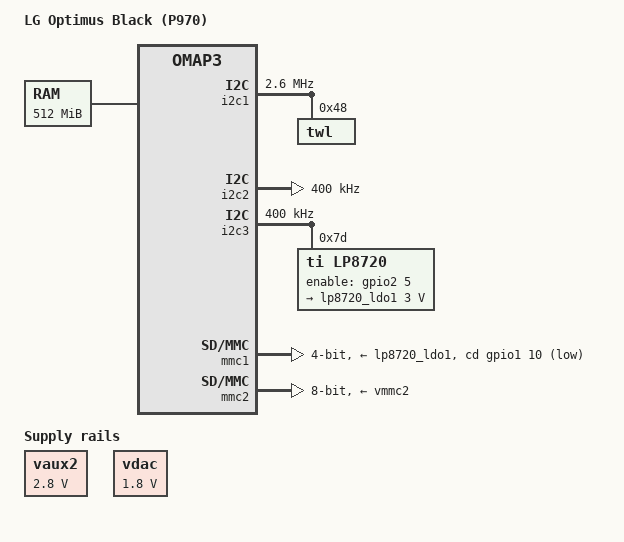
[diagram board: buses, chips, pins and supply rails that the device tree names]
/*
 * Copyright (C) 2015 Paul Kocialkowski <contact@paulk.fr>
 *
 * This program is free software; you can redistribute it and/or modify
 * it under the terms of the GNU General Public License version 2 as
 * published by the Free Software Foundation.
 */
/dts-v1/;

#include "omap36xx.dtsi"

/ {
	model = "LG Optimus Black (P970)";
	compatible = "lge,omap3-sniper", "ti,omap36xx", "ti,omap3";

	cpus {
		cpu@0 {
			cpu0-supply = <&vcc>;
		};
	};

	memory {
		device_type = "memory";
		reg = <0x80000000 0x20000000>; /* 512 MB */
	};
};

&omap3_pmx_core {
	pinctrl-names = "default";

	uart3_pins: pinmux_uart3_pins {
		pinctrl-single,pins = <
			0x16e (PIN_INPUT | MUX_MODE0)		/* uart3_rx_irrx */
			0x170 (PIN_OUTPUT | MUX_MODE0)		/* uart3_tx_irtx */
		>;
	};

	i2c1_pins: pinmux_i2c1_pins {
		pinctrl-single,pins = <
			0x18a (PIN_INPUT_PULLUP | MUX_MODE0)	/* i2c1_scl */
			0x18c (PIN_INPUT_PULLUP | MUX_MODE0)	/* i2c1_sda */
		>;
	};

	i2c2_pins: pinmux_i2c2_pins {
		pinctrl-single,pins = <
			0x18e (PIN_INPUT | MUX_MODE0)		/* i2c2_scl */
			0x190 (PIN_INPUT | MUX_MODE0)		/* i2c2_sda */
		>;
	};

	i2c3_pins: pinmux_i2c3_pins {
		pinctrl-single,pins = <
			0x192 (PIN_INPUT | MUX_MODE0)		/* i2c3_scl */
			0x194 (PIN_INPUT | MUX_MODE0)		/* i2c3_sda */
		>;
	};

	lp8720_en_pin: pinmux_lp8720_en_pin {
		pinctrl-single,pins = <
			0x80 (PIN_OUTPUT | MUX_MODE4)		/* gpio_37 */
		>;
	};

	mmc1_pins: pinmux_mmc1_pins {
		pinctrl-single,pins = <
			0x114 (PIN_INPUT | MUX_MODE0)		/* sdmmc1_clk */
			0x116 (PIN_INPUT | MUX_MODE0)		/* sdmmc1_cmd */
			0x118 (PIN_INPUT | MUX_MODE0)		/* sdmmc1_dat0 */
			0x11a (PIN_INPUT | MUX_MODE0)		/* sdmmc1_dat1 */
			0x11c (PIN_INPUT | MUX_MODE0)		/* sdmmc1_dat2 */
			0x11e (PIN_INPUT | MUX_MODE0)		/* sdmmc1_dat3 */
		>;
	};

	mmc2_pins: pinmux_mmc2_pins {
		pinctrl-single,pins = <
			0x128 (PIN_INPUT | MUX_MODE0)		/* sdmmc2_clk */
			0x12a (PIN_INPUT | MUX_MODE0)		/* sdmmc2_cmd */
			0x12c (PIN_INPUT | MUX_MODE0)		/* sdmmc2_dat0 */
			0x12e (PIN_INPUT | MUX_MODE0)		/* sdmmc2_dat1 */
			0x130 (PIN_INPUT | MUX_MODE0)		/* sdmmc2_dat2 */
			0x132 (PIN_INPUT | MUX_MODE0)		/* sdmmc2_dat3 */
			0x134 (PIN_INPUT | MUX_MODE0)		/* sdmmc2_dat4 */
			0x136 (PIN_INPUT | MUX_MODE0)		/* sdmmc2_dat5 */
			0x138 (PIN_INPUT | MUX_MODE0)		/* sdmmc2_dat6 */
			0x13a (PIN_INPUT | MUX_MODE0)		/* sdmmc2_dat7 */
		>;
	};
};

&omap3_pmx_wkup {
	pinctrl-names = "default";

	mmc1_cd_pin: pinmux_mmc1_cd_pin {
		pinctrl-single,pins = <
			0x1a (PIN_INPUT | MUX_MODE4)		/* gpio_10 */
		>;
	};
};

&gpio1 {
	ti,no-reset-on-init;
};

&gpio2 {
	ti,no-reset-on-init;
};

&gpio3 {
	ti,no-reset-on-init;
};

&gpio4 {
	ti,no-reset-on-init;
};

&gpio5 {
	ti,no-reset-on-init;
};

&gpio6 {
	ti,no-reset-on-init;
};

&uart3 {
	pinctrl-names = "default";
	pinctrl-0 = <&uart3_pins>;

	interrupts-extended = <&intc 74 &omap3_pmx_core OMAP3_UART3_RX>;
};

&i2c1 {
	pinctrl-names = "default";
	pinctrl-0 = <&i2c1_pins>;

	clock-frequency = <2600000>;

	twl: twl@48 {
		reg = <0x48>;
		interrupts = <7>; /* SYS_NIRQ cascaded to intc */
		interrupt-parent = <&intc>;

		twl_power: power {
			compatible = "ti,twl4030-power";
			ti,use_poweroff;
		};
	};
};

#include "twl4030.dtsi"
#include "twl4030_omap3.dtsi"

&i2c2 {
	pinctrl-names = "default";
	pinctrl-0 = <&i2c2_pins>;

	clock-frequency = <400000>;
};

&i2c3 {
	pinctrl-names = "default";
	pinctrl-0 = <&i2c3_pins>;

	clock-frequency = <400000>;

	lp8720@7d {
		pinctrl-names = "default";
		pinctrl-0 = <&lp8720_en_pin>;

		compatible = "ti,lp8720";
		reg = <0x7d>;

		ti,enable-gpio = <&gpio2 5 GPIO_ACTIVE_HIGH>;	/* gpio_37 */

		lp8720_ldo1: ldo1 {
			regulator-min-microvolt = <3000000>;
			regulator-max-microvolt = <3000000>;
		};
	};
};

&mmc1 {
	pinctrl-names = "default";
	pinctrl-0 = <&mmc1_pins &mmc1_cd_pin>;
	vmmc-supply = <&lp8720_ldo1>;
	cd-gpios = <&gpio1 10 GPIO_ACTIVE_LOW>;			/* gpio 10 */
	bus-width = <4>;
};

&mmc2 {

	pinctrl-names = "default";
	pinctrl-0 = <&mmc2_pins>;
	vmmc-supply = <&vmmc2>;
	ti,non-removable;
	bus-width = <8>;
};

&mmc3 {
	status = "disabled";
};

/*
 * The TWL4030 VAUX2 and VDAC regulators power sensors that are slaves on I2C3.
 * When not powered, these sensors cause the I2C3 clock to stay low at all times,
 * making it impossible to reach other devices on I2C3.
 */

&vaux2 {
	regulator-min-microvolt = <2800000>;
	regulator-max-microvolt = <2800000>;
	regulator-always-on;
};

&vdac {
	regulator-min-microvolt = <1800000>;
	regulator-max-microvolt = <1800000>;
	regulator-always-on;
};
